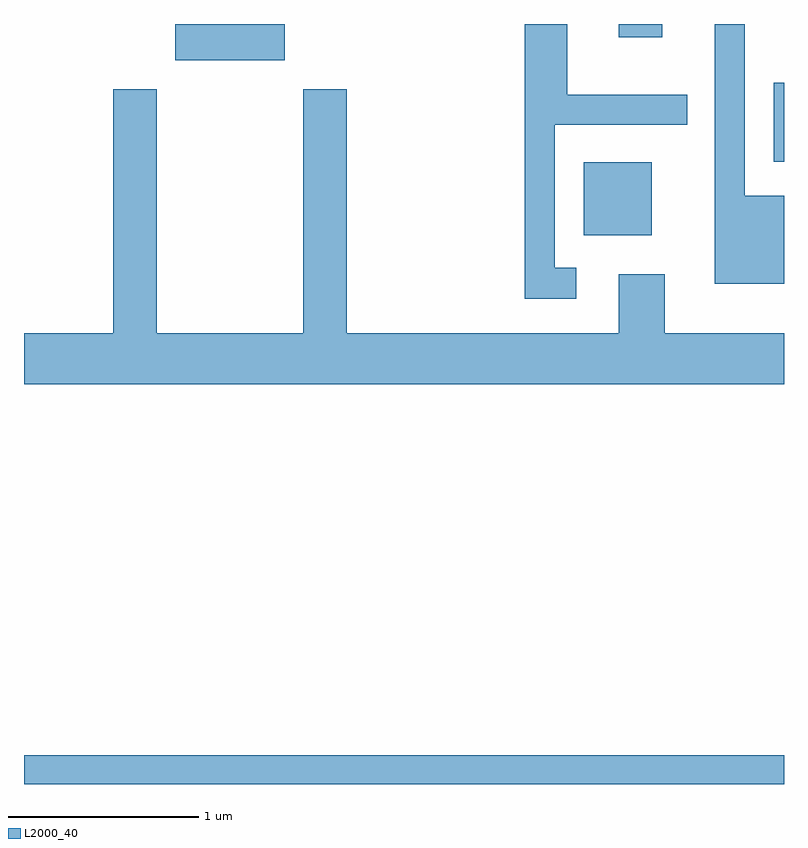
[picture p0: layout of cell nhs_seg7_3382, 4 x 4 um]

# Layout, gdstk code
import gdstk
lib = gdstk.Library(unit=1e-6, precision=1e-09)
def R(c, l, rs):  # rectangles x0, y0, x1, y1
    for r in rs: c.add(gdstk.rectangle(r[:2], r[2:], *l))
def P(c, l, *ps):  # polygons
    for p in ps: c.add(gdstk.Polygon(p, *l))
L2000_40 = (2000, 40)

nhs_seg7_3382 = lib.new_cell('nhs_seg7_3382')
R(nhs_seg7_3382, L2000_40, [(289.611,1672.252,293.611,1672.404), (292.556,1675.141,292.914,1675.524), (293.556,1675.526,293.611,1675.944), (290.406,1676.061,290.984,1676.252), (292.741,1676.181,292.969,1676.252)])
P(nhs_seg7_3382, L2000_40, [(293.611,1675.349),(293.404,1675.349),(293.404,1676.252),(293.246,1676.252),(293.246,1674.886),(293.611,1674.886)],
  [(292.518,1674.969),(292.404,1674.969),(292.404,1675.721),(293.103,1675.721),(293.103,1675.879),(292.469,1675.879),(292.469,1676.252),(292.246,1676.252),(292.246,1674.806),(292.518,1674.806)],
  [(293.611,1674.624),(292.984,1674.624),(292.984,1674.934),(292.741,1674.934),(292.741,1674.624),(291.309,1674.624),(291.309,1675.909),(291.081,1675.909),(291.081,1674.624),(290.309,1674.624),(290.309,1675.909),(290.081,1675.909),(290.081,1674.624),(289.611,1674.624),(289.611,1674.356),(293.611,1674.356)])

lib.write_gds('nhs_seg7_3382.gds')
